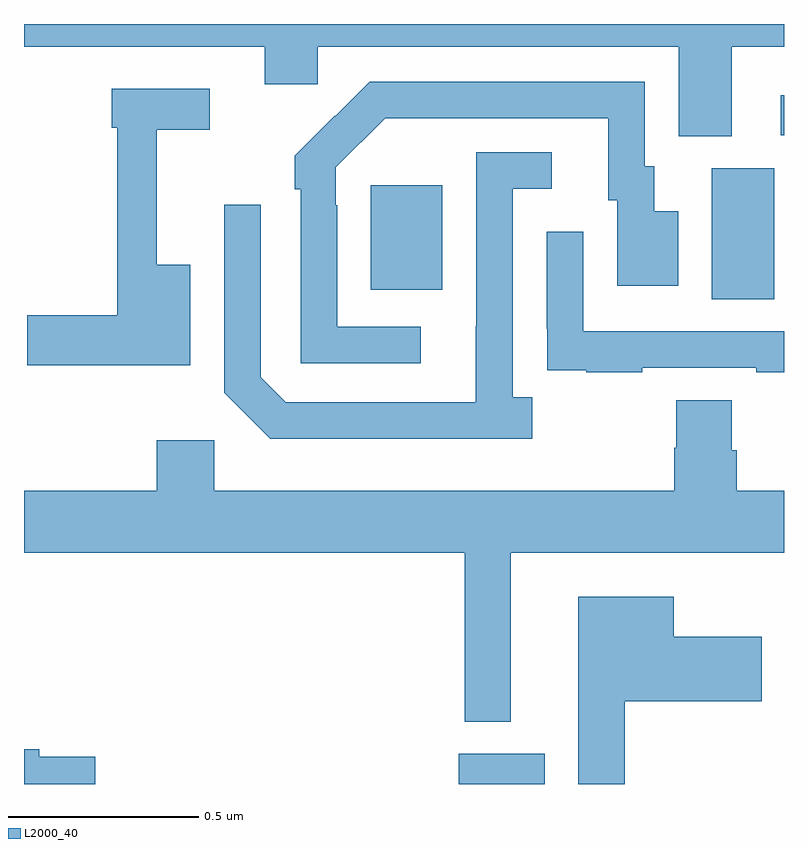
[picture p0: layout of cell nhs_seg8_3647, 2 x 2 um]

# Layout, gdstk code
import gdstk
lib = gdstk.Library(unit=1e-6, precision=1e-09)
def R(c, l, rs):  # rectangles x0, y0, x1, y1
    for r in rs: c.add(gdstk.rectangle(r[:2], r[2:], *l))
def P(c, l, *ps):  # polygons
    for p in ps: c.add(gdstk.Polygon(p, *l))
L2000_40 = (2000, 40)

nhs_seg8_3647 = lib.new_cell('nhs_seg8_3647')
R(nhs_seg8_3647, L2000_40, [(161.144,1107.9,161.371,1107.979), (161.81,1109.176,161.974,1109.52), (160.913,1109.201,161.101,1109.476), (161.991,1109.607,162,1109.713)])
P(nhs_seg8_3647, L2000_40, [(161.863,1109.84),(162,1109.84),(162,1109.9),(160,1109.9),(160,1109.84),(160.634,1109.84),(160.634,1109.742),(160.773,1109.742),(160.773,1109.84),(161.723,1109.84),(161.723,1109.605),(161.863,1109.605)],
  [(161.044,1109.103),(160.824,1109.103),(160.824,1109.423),(160.821,1109.423),(160.821,1109.523),(160.95,1109.652),(161.537,1109.652),(161.537,1109.436),(161.561,1109.436),(161.561,1109.211),(161.722,1109.211),(161.722,1109.407),(161.659,1109.407),(161.659,1109.526),(161.634,1109.526),(161.634,1109.748),(160.91,1109.748),(160.819,1109.657),(160.818,1109.658),(160.713,1109.553),(160.713,1109.465),(160.728,1109.465),(160.728,1109.007),(161.044,1109.007)],
  [(160.438,1109.266),(160.349,1109.266),(160.349,1109.622),(160.489,1109.622),(160.489,1109.73),(160.231,1109.73),(160.231,1109.627),(160.246,1109.627),(160.246,1109.134),(160.008,1109.134),(160.008,1109.002),(160.438,1109.002)],
  [(161.338,1108.918),(161.286,1108.918),(161.286,1109.466),(161.389,1109.466),(161.389,1109.562),(161.19,1109.562),(161.19,1109.105),(161.189,1109.105),(161.189,1108.905),(160.689,1108.905),(160.623,1108.971),(160.623,1109.425),(160.527,1109.425),(160.527,1108.929),(160.648,1108.808),(161.338,1108.808)],
  [(161.627,1108.995),(161.927,1108.995),(161.927,1108.983),(162,1108.983),(162,1109.091),(161.472,1109.091),(161.472,1109.353),(161.376,1109.353),(161.376,1109.098),(161.377,1109.098),(161.377,1108.989),(161.479,1108.989),(161.479,1108.983),(161.627,1108.983)],
  [(161.281,1108.508),(162,1108.508),(162,1108.672),(161.876,1108.672),(161.876,1108.778),(161.863,1108.778),(161.863,1108.91),(161.716,1108.91),(161.716,1108.785),(161.711,1108.785),(161.711,1108.672),(160.5,1108.672),(160.5,1108.804),(160.349,1108.804),(160.349,1108.672),(160,1108.672),(160,1108.508),(161.16,1108.508),(161.16,1108.064),(161.281,1108.064)],
  [(161.581,1108.118),(161.941,1108.118),(161.941,1108.288),(161.71,1108.288),(161.71,1108.393),(161.459,1108.393),(161.459,1107.9),(161.581,1107.9)],
  [(160.187,1107.972),(160.04,1107.972),(160.04,1107.992),(160,1107.992),(160,1107.9),(160.187,1107.9)])

lib.write_gds('nhs_seg8_3647.gds')
